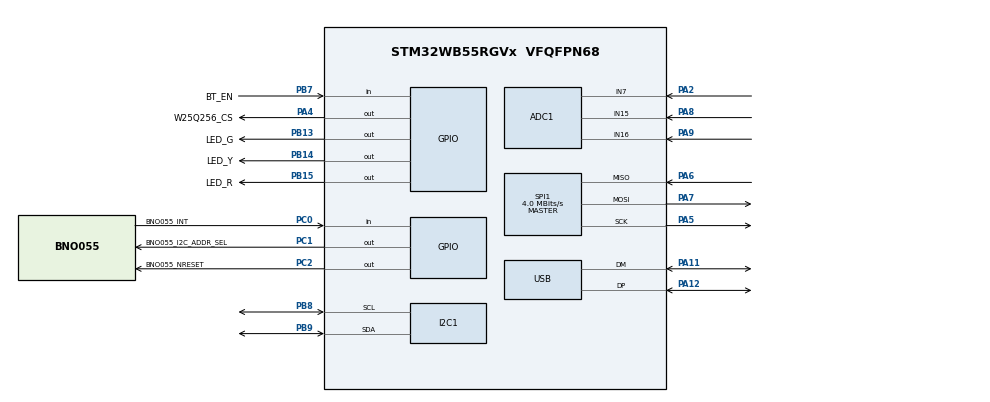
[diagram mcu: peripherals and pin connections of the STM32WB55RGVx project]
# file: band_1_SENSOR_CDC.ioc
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ADC1.Channel-2\#ChannelRegularConversion=ADC_CHANNEL_7
ADC1.NbrOfConversionFlag=1
ADC1.OffsetNumber-2\#ChannelRegularConversion=ADC_OFFSET_NONE
ADC1.Rank-2\#ChannelRegularConversion=1
ADC1.SamplingTime-2\#ChannelRegularConversion=ADC_SAMPLETIME_2CYCLES_5
ADC1.master=1
I2C1.Timing=0x10B17DB5
Mcu.Family=STM32WB
Mcu.Name=STM32WB55RGVx
Mcu.Package=VFQFPN68
NVIC.HSEM_IRQn=true\:0\:0\:false\:false\:true\:false\:true\:true
NVIC.IPCC_C1_RX_IRQn=true\:0\:0\:false\:false\:true\:true\:true\:true
NVIC.IPCC_C1_TX_IRQn=true\:0\:0\:false\:false\:true\:true\:true\:true
NVIC.PriorityGroup=NVIC_PRIORITYGROUP_4
NVIC.RTC_WKUP_IRQn=true\:0\:0\:false\:false\:true\:true\:true\:true
NVIC.USB_LP_IRQn=true\:0\:0\:false\:false\:true\:false\:true\:true
OSC_IN.Mode=HSE-External-Oscillator
OSC_IN.Signal=RCC_OSC_IN
OSC_OUT.Mode=HSE-External-Oscillator
OSC_OUT.Signal=RCC_OSC_OUT
PA0.Mode=SYS_WakeUp0
PA0.Signal=SYS_WKUP1
PA11.Mode=Device
PA11.Signal=USB_DM
PA12.Mode=Device
PA12.Signal=USB_DP
PA13.Mode=Serial_Wire
PA13.Signal=SYS_JTMS-SWDIO
PA14.Mode=Serial_Wire
PA14.Signal=SYS_JTCK-SWCLK
PA2.Signal=ADCx_IN7
PA3.Signal=ADCx_IN8
PA4.GPIO_Label=W25Q256_CS
PA4.GPIO_Speed=GPIO_SPEED_FREQ_LOW
PA4.PinState=GPIO_PIN_SET
PA4.Signal=GPIO_Output
PA5.Mode=Full_Duplex_Master
PA5.Signal=SPI1_SCK
PA6.Mode=Full_Duplex_Master
PA6.Signal=SPI1_MISO
PA7.Mode=Full_Duplex_Master
PA7.Signal=SPI1_MOSI
PA8.Signal=ADCx_IN15
PA9.Signal=ADCx_IN16
PB13.GPIO_Label=LED_G
PB13.GPIO_Speed=GPIO_SPEED_FREQ_HIGH
PB13.PinState=GPIO_PIN_RESET
PB13.Signal=GPIO_Output
PB14.GPIO_Label=LED_Y
PB14.GPIO_Speed=GPIO_SPEED_FREQ_HIGH
PB14.PinState=GPIO_PIN_RESET
PB14.Signal=GPIO_Output
PB15.GPIO_Label=LED_R
PB15.GPIO_Speed=GPIO_SPEED_FREQ_HIGH
PB15.PinState=GPIO_PIN_SET
PB15.Signal=GPIO_Output
PB7.GPIO_Label=BT_EN
PB7.GPIO_PuPd=GPIO_NOPULL
PB7.Signal=GPIO_Input
PB8.Mode=I2C
PB8.Signal=I2C1_SCL
PB9.Mode=I2C
PB9.Signal=I2C1_SDA
PC0.GPIO_Label=BNO055_INT
PC0.Signal=GPIO_Input
PC1.GPIO_Label=BNO055_I2C_ADDR_SEL
PC1.Signal=GPIO_Output
PC14-OSC32_IN.Mode=LSE-External-Oscillator
PC14-OSC32_IN.Signal=RCC_OSC32_IN
PC15-OSC32_OUT.Mode=LSE-External-Oscillator
PC15-OSC32_OUT.Signal=RCC_OSC32_OUT
PC2.GPIO_Label=BNO055_NRESET
PC2.PinState=GPIO_PIN_SET
PC2.Signal=GPIO_Output
ProjectManager.HeapSize=0x200
ProjectManager.StackSize=0x400
ProjectManager.TargetToolchain=MDK-ARM V5
RCC.ADCFreq_Value=48000000
RCC.AHB2CLKDivider=RCC_SYSCLK_DIV2
RCC.AHBFreq_Value=64000000
RCC.APB1Freq_Value=64000000
RCC.APB1TimFreq_Value=64000000
RCC.APB2Freq_Value=64000000
RCC.APB2TimFreq_Value=64000000
RCC.APB3Freq_Value=16000000
RCC.CK48CLockSelection=RCC_USBCLKSOURCE_HSI48
RCC.CortexFreq_Value=64000000
RCC.HCLKFreq_Value=64000000
RCC.HSE_VALUE=32000000
RCC.HSI48_VALUE=48000000
RCC.HSI_VALUE=16000000
RCC.PLLN=32
RCC.PLLSAI1N=24
RCC.RFWKPClockSelection=RCC_RFWKPCLKSOURCE_LSE
RCC.RTCClockSelection=RCC_RTCCLKSOURCE_LSE
RCC.SYSCLKFreq_VALUE=64000000
RCC.SYSCLKSource=RCC_SYSCLKSOURCE_PLLCLK
RCC.USBFreq_Value=48000000
RCC.VCOOutputFreq_Value=128000000
RF1.Mode=RF1_Activate
RF1.Signal=RF_RF1
SH.ADCx_IN15.0=ADC1_IN15,IN15-Single-Ended
SH.ADCx_IN16.0=ADC1_IN16,IN16-Single-Ended
SH.ADCx_IN7.0=ADC1_IN7,IN7-Single-Ended
SH.ADCx_IN8.0=ADC1_IN8
SPI1.BaudRatePrescaler=SPI_BAUDRATEPRESCALER_16
SPI1.CalculateBaudRate=4.0 MBits/s
SPI1.DataSize=SPI_DATASIZE_8BIT
SPI1.Direction=SPI_DIRECTION_2LINES
SPI1.Mode=SPI_MODE_MASTER
SPI1.VirtualType=VM_MASTER
STM32_WPAN.AD_TYPE_COMPLETE_LOCAL_NAME=band-STM32
STM32_WPAN.AD_TYPE_COMPLETE_LOCAL_NAME_LENGTH=11
STM32_WPAN.CFG_DEBUG_TRACE_UART=hw_uart1
STM32_WPAN.CFG_HW_USART1_ENABLED=1
STM32_WPAN.CFG_LSCLK_LSE=0
STM32_WPAN.CUSTOM_TEMPLATE=Enabled
STM32_WPAN.INCLUDE_AD_TYPE_COMPLETE_LOCAL_NAME=1
STM32_WPAN.NUMBER_OF_SERVICES=1
STM32_WPAN.PAIRING_PARAMETERS=OFF
STM32_WPAN.SERVICE1_CHAR1_GATT_NOTIFY_ATTRIBUTE_WRITE=\ 
STM32_WPAN.SERVICE1_CHAR1_GATT_NOTIFY_READ_REQ_AND_WAIT_FOR_APPL_RESP=\ 
STM32_WPAN.SERVICE1_CHAR1_GATT_NOTIFY_WRITE_REQ_AND_WAIT_FOR_APPL_RESP=\ 
STM32_WPAN.SERVICE1_CHAR1_LONG_NAME=myCharWrite
STM32_WPAN.SERVICE1_CHAR1_PROP_READ=CHAR_PROP_READ
STM32_WPAN.SERVICE1_CHAR1_SHORT_NAME=myCharWrite
STM32_WPAN.SERVICE1_LONG_NAME=mySVC
STM32_WPAN.SERVICE1_SHORT_NAME=mySVC
USB_DEVICE.CLASS_NAME_FS=CDC
USB_DEVICE.VirtualMode=Cdc
USB_DEVICE.VirtualModeFS=Cdc_FS
VP_HSEM_VS_HSEM.Mode=HSEM_Activate
VP_IPCC_VS_IPCC.Mode=IPCC_Activate
VP_MEMORYMAP_VS_MEMORYMAP.Mode=CurAppReg
VP_RCC_LSE.Mode=CRS SYNC Source LSE
VP_RTC_VS_RTC_Activate.Mode=RTC_Enabled
VP_RTC_VS_RTC_WakeUp_intern.Mode=WakeUp
VP_SEQUENCER_VS_SEQUENCER.Mode=SEQUENCER_Enabled
VP_STM32_WPAN_VS_BLE_HOST.Mode=STM32_WPAN_Enabled
VP_TINY_LPM_VS_TINY_LPM.Mode=TINY_LPM_Enabled
VP_USB_DEVICE_VS_USB_DEVICE_CDC_FS.Mode=CDC_FS
board=custom

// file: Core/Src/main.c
/* USER CODE BEGIN Header */
/**
  ******************************************************************************
  * @file           : main.c
  * @brief          : Main program body
  ******************************************************************************
  * @attention
  *
  * Copyright (c) 2025 STMicroelectronics.
  * All rights reserved.
  *
  * This software is licensed under terms that can be found in the LICENSE file
  * in the root directory of this software component.
  * If no LICENSE file comes with this software, it is provided AS-IS.
  *
  ******************************************************************************
  */
/* USER CODE END Header */
#include "main.h"
#include "adc.h"
#include "i2c.h"
#include "ipcc.h"
#include "rf.h"
#include "rtc.h"
#include "spi.h"
#include "usb_device.h"
#include "gpio.h"

/* USER CODE BEGIN Includes */
#include <stdbool.h>
#include <bno055.h>
#include "usbd_cdc_if.h"
#include <stdint.h>
#include "stm32wbxx_hal.h"
#include "W25Q.h"
//#include "fat16_image.h"
//#include "stm32_seq.h"
extern volatile bool cpu2_ready;
extern USBD_HandleTypeDef hUsbDeviceFS;
extern volatile uint8_t g_cdc_ready;
extern uint32_t HAL_GetTick(void);

extern const uint8_t tiny_volume[];
extern const uint32_t tiny_volume_size;
//volatile uint8_t g_cdc_ready = 0;
/* USER CODE END Includes */

/* USER CODE BEGIN PTD */

///SENSOR TEST

struct bno055_t bno;

s8 BNO055_I2C_bus_write(u8 dev_addr, u8 reg_addr, u8 *reg_data, u8 cnt)
{
	return HAL_I2C_Mem_Write(&hi2c1, dev_addr << 1, reg_addr,
                             I2C_MEMADD_SIZE_8BIT, reg_data, cnt, 100) == HAL_OK ? 0 : -1;
}

s8 BNO055_I2C_bus_read(u8 dev_addr, u8 reg_addr, u8 *reg_data, u8 cnt)
{
    return HAL_I2C_Mem_Read(&hi2c1, dev_addr <<1 , reg_addr,
                            I2C_MEMADD_SIZE_8BIT, reg_data, cnt, 100) == HAL_OK ? 0 : -1;
}

void BNO055_delay_msec(u32 msec)
{
    HAL_Delay(msec);
}
typedef struct {
    float ax, ay, az;
    float gx, gy, gz;
    float yaw, roll, pitch;
    uint32_t t_ms;
} SensorFrame;

SensorFrame read_sensor(void)
{
    SensorFrame f = {0};

    struct bno055_euler_t eul;
    struct bno055_accel_t acc;
    struct bno055_gyro_t gyr;

    bno055_read_euler_hrp(&eul);
    bno055_read_accel_xyz(&acc);
    bno055_read_gyro_xyz(&gyr);

    f.t_ms = HAL_GetTick();

    // unit conversion (根据 Bosch 手册)
    f.yaw   = (float)eul.h / 16.0f;   // raw 单位 1/16°
    f.roll  = (float)eul.r / 16.0f;
    f.pitch = (float)eul.p / 16.0f;

    f.ax = (float)acc.x / 100.0f;     // mg → m/s²
    f.ay = (float)acc.y / 100.0f;
    f.az = (float)acc.z / 100.0f;

    f.gx = (float)gyr.x / 16.0f;      // raw 单位 1/16 dps
    f.gy = (float)gyr.y / 16.0f;
    f.gz = (float)gyr.z / 16.0f;

    return f;
}

extern uint32_t HAL_GetTick(void);

/* USER CODE END PTD */

/* USER CODE BEGIN PD */

static int usb_send_buf(const uint8_t* buf, uint16_t len) {
    if (hUsbDeviceFS.dev_state != USBD_STATE_CONFIGURED || !g_cdc_ready) {
        return -1; // USB not configured or CDC not ready
    }

    uint32_t t0 = HAL_GetTick();
    while (CDC_Transmit_FS((uint8_t*)buf, len) == USBD_BUSY) {
			    //MX_APPE_Process();
        if (HAL_GetTick() - t0 > 20) { // Timeout after 20ms
            return -2; // Timeout error
        }
    }
    return 0;
}

static int usb_print(const char* s) {
    return usb_send_buf((const uint8_t*)s, (uint16_t)strlen(s));
}

static int usb_printf(const char *fmt, ...) {
    static char buf[512];
    va_list ap;
    va_start(ap, fmt);
    int n = vsnprintf(buf, sizeof(buf), fmt, ap);
    va_end(ap);
    if (n < 0) return n;
    if (n >= (int)sizeof(buf)) n = sizeof(buf) - 1;
    return usb_send_buf((uint8_t*)buf, (uint16_t)n);
}
/* USER CODE END PD */

void SystemClock_Config(void);
void PeriphCommonClock_Config(void);

/* USER CODE BEGIN 0 */
void write_data_to_flash(uint32_t addr, const uint8_t *data, uint32_t size) {
  if ((addr % 4096) == 0) {
    W25Q01_SectorErase4K(addr);  // 每 4KB 擦除一次
  }
  W25Q01_PageProgram(addr, data, size);  // 写入数据
}
/* USER CODE END 0 */

int main(void)
{

  /* USER CODE BEGIN 1 */

	//crystal test
/*	bool hse_ok = __HAL_RCC_GET_FLAG(RCC_FLAG_HSERDY);
	bool lse_ok = __HAL_RCC_GET_FLAG(RCC_FLAG_LSERDY);
	if (hse_ok) {
			usb_print("hse ok\r\n");
	}
	if (lse_ok) {
			usb_print("lse ok\r\n");
	}
	*/
  /* USER CODE END 1 */

  /* MCU Configuration--------------------------------------------------------*/

  /* Reset of all peripherals, Initializes the Flash interface and the Systick. */
  HAL_Init();
  /* Config code for STM32_WPAN (HSE Tuning must be done before system clock configuration) */

  /* Configure the system clock */
  SystemClock_Config();

  /* Configure the peripherals common clocks */
  PeriphCommonClock_Config();

  /* IPCC initialisation */
  MX_IPCC_Init();

  /* Initialize all configured peripherals */
  MX_GPIO_Init();
  MX_ADC1_Init();
  MX_I2C1_Init();
  MX_SPI1_Init();
  MX_RTC_Init();

  MX_RF_Init();

  MX_APPE_Config();
	LL_HSEM_1StepLock( HSEM, 5 );
  MX_APPE_Init();

	MX_USB_Device_Init();

	HAL_Delay(7000);  // 给 BNO055 上电时间
	usb_print("Init BNO055...1\r\n");
	HAL_Delay(7000);  // 给 BNO055 上电时间
	usb_print("Init BNO055...2\r\n");
// 初始化 I2C 接口
	bno.bus_read = BNO055_I2C_bus_read;
	bno.bus_write = BNO055_I2C_bus_write;
	bno.delay_msec = BNO055_delay_msec;
	bno.dev_addr = BNO055_I2C_ADDR1;// 0x29 or 1

	s8 rslt = bno055_init(&bno);
	usb_printf("init result = %d\r\n", rslt);

	rslt = bno055_set_operation_mode(BNO055_OPERATION_MODE_NDOF);
	usb_printf("set mode = %d\r\n", rslt);
	HAL_Delay(500);

  /* Init code for STM32_WPAN */

	usb_printf("ptr_read=%p write=%p delay=%p\n",
           bno.bus_read, bno.bus_write, bno.delay_msec);
uint8_t id = 0;

HAL_I2C_Mem_Read(&hi2c1, 0x28<<1, 0x00, 1, &id, 1, 100);
usb_printf("ID_28 = 0x%02X\r\n", id);

HAL_I2C_Mem_Read(&hi2c1, 0x29<<1, 0x00, 1, &id, 1, 100);
usb_printf("ID_29 = 0x%02X\r\n", id);

	HAL_Delay(5000);
  /* Infinite loop */
  while (1)
  {
  //  MX_APPE_Process();

    /* USER CODE BEGIN 3 */

		//SENSOR TEST
    SensorFrame f = read_sensor();

	//	usb_printf("%.2f\n",ADC1_IN15);

    usb_printf("%lu,%.2f,%.2f,%.2f,%.2f,%.2f,%.2f,%.2f,%.2f\r\n",
        f.t_ms, f.ax, f.ay, f.az, f.gx, f.gy, f.gz, f.yaw, f.pitch);
        HAL_Delay(200);  // Delay for 50Hz
  }
  /* USER CODE END 3 */
}

void SystemClock_Config(void)
{
  RCC_OscInitTypeDef RCC_OscInitStruct = {0};
  RCC_ClkInitTypeDef RCC_ClkInitStruct = {0};
  RCC_CRSInitTypeDef RCC_CRSInitStruct = {0};

  /** Configure LSE Drive Capability
  */
  HAL_PWR_EnableBkUpAccess();
  __HAL_RCC_LSEDRIVE_CONFIG(RCC_LSEDRIVE_MEDIUMHIGH);

  /** Configure the main internal regulator output voltage
  */
  __HAL_PWR_VOLTAGESCALING_CONFIG(PWR_REGULATOR_VOLTAGE_SCALE1);

  /** Initializes the RCC Oscillators according to the specified parameters
  * in the RCC_OscInitTypeDef structure.
  */
  RCC_OscInitStruct.OscillatorType = RCC_OSCILLATORTYPE_HSI48|RCC_OSCILLATORTYPE_HSI
                              |RCC_OSCILLATORTYPE_HSE|RCC_OSCILLATORTYPE_LSE
                              |RCC_OSCILLATORTYPE_MSI;
  RCC_OscInitStruct.HSEState = RCC_HSE_ON;
  RCC_OscInitStruct.LSEState = RCC_LSE_ON;
  RCC_OscInitStruct.HSIState = RCC_HSI_ON;
  RCC_OscInitStruct.MSIState = RCC_MSI_ON;
  RCC_OscInitStruct.HSI48State = RCC_HSI48_ON;
  RCC_OscInitStruct.HSICalibrationValue = RCC_HSICALIBRATION_DEFAULT;
  RCC_OscInitStruct.MSICalibrationValue = RCC_MSICALIBRATION_DEFAULT;
  RCC_OscInitStruct.MSIClockRange = RCC_MSIRANGE_6;
  RCC_OscInitStruct.PLL.PLLState = RCC_PLL_ON;
  RCC_OscInitStruct.PLL.PLLSource = RCC_PLLSOURCE_MSI;
  RCC_OscInitStruct.PLL.PLLM = RCC_PLLM_DIV1;
  RCC_OscInitStruct.PLL.PLLN = 32;
  RCC_OscInitStruct.PLL.PLLP = RCC_PLLP_DIV2;
  RCC_OscInitStruct.PLL.PLLR = RCC_PLLR_DIV2;
  RCC_OscInitStruct.PLL.PLLQ = RCC_PLLQ_DIV2;
  if (HAL_RCC_OscConfig(&RCC_OscInitStruct) != HAL_OK)
  {
    Error_Handler();
  }

  /** Configure the SYSCLKSource, HCLK, PCLK1 and PCLK2 clocks dividers
  */
  RCC_ClkInitStruct.ClockType = RCC_CLOCKTYPE_HCLK4|RCC_CLOCKTYPE_HCLK2
                              |RCC_CLOCKTYPE_HCLK|RCC_CLOCKTYPE_SYSCLK
                              |RCC_CLOCKTYPE_PCLK1|RCC_CLOCKTYPE_PCLK2;
  RCC_ClkInitStruct.SYSCLKSource = RCC_SYSCLKSOURCE_PLLCLK;
  RCC_ClkInitStruct.AHBCLKDivider = RCC_SYSCLK_DIV1;
  RCC_ClkInitStruct.APB1CLKDivider = RCC_HCLK_DIV1;
  RCC_ClkInitStruct.APB2CLKDivider = RCC_HCLK_DIV1;
  RCC_ClkInitStruct.AHBCLK2Divider = RCC_SYSCLK_DIV2;
  RCC_ClkInitStruct.AHBCLK4Divider = RCC_SYSCLK_DIV1;

  if (HAL_RCC_ClockConfig(&RCC_ClkInitStruct, FLASH_LATENCY_3) != HAL_OK)
  {
    Error_Handler();
  }

  /** Enable the SYSCFG APB clock
  */
  __HAL_RCC_CRS_CLK_ENABLE();

  /** Configures CRS
  */
  RCC_CRSInitStruct.Prescaler = RCC_CRS_SYNC_DIV1;
  RCC_CRSInitStruct.Source = RCC_CRS_SYNC_SOURCE_LSE;
  RCC_CRSInitStruct.Polarity = RCC_CRS_SYNC_POLARITY_RISING;
  RCC_CRSInitStruct.ReloadValue = __HAL_RCC_CRS_RELOADVALUE_CALCULATE(48000000,32768);
  RCC_CRSInitStruct.ErrorLimitValue = 34;
  RCC_CRSInitStruct.HSI48CalibrationValue = 32;

  HAL_RCCEx_CRSConfig(&RCC_CRSInitStruct);
}

void PeriphCommonClock_Config(void)
{
  RCC_PeriphCLKInitTypeDef PeriphClkInitStruct = {0};

  /** Initializes the peripherals clock
  */
  PeriphClkInitStruct.PeriphClockSelection = RCC_PERIPHCLK_SMPS|RCC_PERIPHCLK_RFWAKEUP;
  PeriphClkInitStruct.RFWakeUpClockSelection = RCC_RFWKPCLKSOURCE_LSE;
  PeriphClkInitStruct.SmpsClockSelection = RCC_SMPSCLKSOURCE_HSI;
  PeriphClkInitStruct.SmpsDivSelection = RCC_SMPSCLKDIV_RANGE1;

  if (HAL_RCCEx_PeriphCLKConfig(&PeriphClkInitStruct) != HAL_OK)
  {
    Error_Handler();
  }
}

void Error_Handler(void)
{
  __disable_irq();
  while (1)
  {
  }
}
